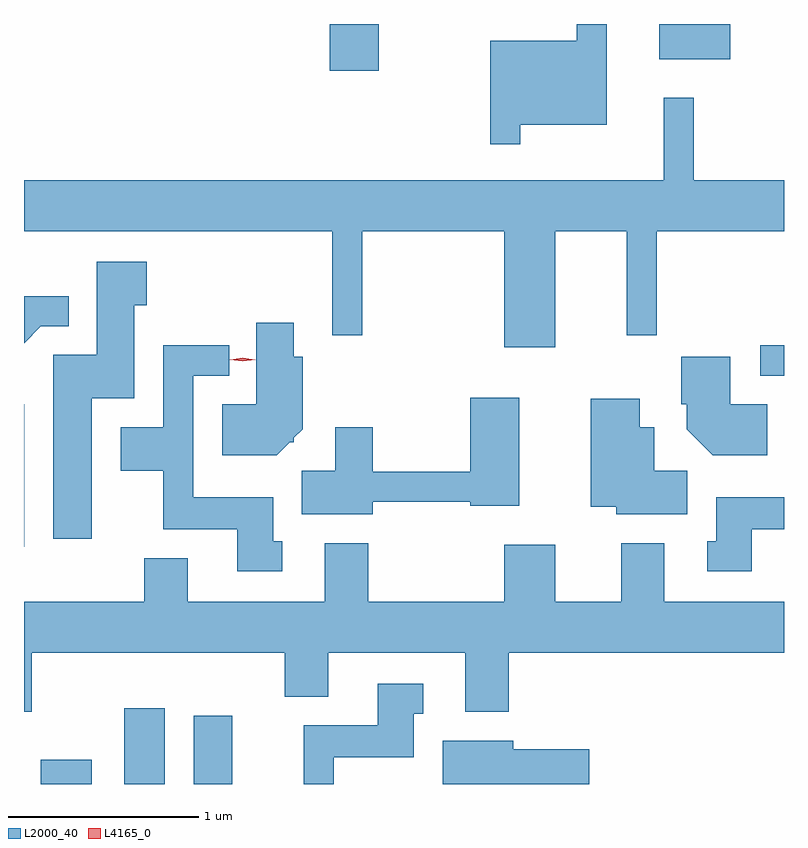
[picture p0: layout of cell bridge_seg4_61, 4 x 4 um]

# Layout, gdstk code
import gdstk
lib = gdstk.Library(unit=1e-6, precision=1e-09)
def R(c, l, rs):  # rectangles x0, y0, x1, y1
    for r in rs: c.add(gdstk.rectangle(r[:2], r[2:], *l))
def P(c, l, *ps):  # polygons
    for p in ps: c.add(gdstk.Polygon(p, *l))
L2000_40 = (2000, 40)
L4165_0 = (4165, 0)

bridge_seg4_61 = lib.new_cell('bridge_seg4_61')
R(bridge_seg4_61, L2000_40, [(1291.556,1267.406,1291.824,1267.534), (1291.996,1267.406,1292.209,1267.804), (1292.361,1267.406,1292.564,1267.764), (1291.468,1268.656,1291.469,1269.404), (1295.343,1269.556,1295.468,1269.714), (1293.076,1271.161,1293.334,1271.406), (1294.811,1271.221,1295.184,1271.406)])
P(bridge_seg4_61, L2000_40, [(1294.079,1270.876),(1294.534,1270.876),(1294.534,1271.406),(1294.376,1271.406),(1294.376,1271.319),(1293.921,1271.319),(1293.921,1270.773),(1294.079,1270.773)],
  [(1294.264,1270.316),(1294.641,1270.316),(1294.641,1269.768),(1294.799,1269.768),(1294.799,1270.316),(1295.468,1270.316),(1295.468,1270.584),(1294.994,1270.584),(1294.994,1271.018),(1294.836,1271.018),(1294.836,1270.584),(1291.468,1270.584),(1291.468,1270.316),(1293.091,1270.316),(1293.091,1269.768),(1293.249,1269.768),(1293.249,1270.316),(1293.996,1270.316),(1293.996,1269.706),(1294.264,1269.706)],
  [(1291.824,1269.436),(1292.049,1269.436),(1292.049,1269.926),(1292.114,1269.926),(1292.114,1270.154),(1291.851,1270.154),(1291.851,1269.664),(1291.621,1269.664),(1291.621,1268.696),(1291.824,1268.696)],
  [(1291.557,1269.816),(1291.703,1269.816),(1291.703,1269.974),(1291.47,1269.974),(1291.47,1269.961),(1291.468,1269.959),(1291.468,1269.727)],
  [(1292.867,1269.206),(1292.889,1269.206),(1292.889,1269.229),(1292.934,1269.274),(1292.934,1269.654),(1292.889,1269.654),(1292.889,1269.834),(1292.691,1269.834),(1292.691,1269.404),(1292.511,1269.404),(1292.511,1269.136),(1292.797,1269.136)],
  [(1292.828,1268.684),(1292.779,1268.684),(1292.779,1268.914),(1292.359,1268.914),(1292.359,1269.556),(1292.548,1269.556),(1292.548,1269.714),(1292.201,1269.714),(1292.201,1269.284),(1291.976,1269.284),(1291.976,1269.056),(1292.201,1269.056),(1292.201,1268.746),(1292.591,1268.746),(1292.591,1268.526),(1292.828,1268.526)],
  [(1295.379,1269.404),(1295.184,1269.404),(1295.184,1269.654),(1294.926,1269.654),(1294.926,1269.406),(1294.956,1269.406),(1294.956,1269.274),(1295.094,1269.136),(1295.379,1269.136)],
  [(1293.304,1268.891),(1293.816,1268.891),(1293.816,1268.871),(1294.074,1268.871),(1294.074,1269.439),(1293.816,1269.439),(1293.816,1269.049),(1293.304,1269.049),(1293.304,1269.284),(1293.106,1269.284),(1293.106,1269.054),(1292.931,1269.054),(1292.931,1268.826),(1293.304,1268.826)],
  [(1294.959,1269.054),(1294.784,1269.054),(1294.784,1269.284),(1294.709,1269.284),(1294.709,1269.434),(1294.451,1269.434),(1294.451,1268.866),(1294.586,1268.866),(1294.586,1268.826),(1294.959,1268.826)],
  [(1295.299,1268.746),(1295.468,1268.746),(1295.468,1268.914),(1295.111,1268.914),(1295.111,1268.684),(1295.063,1268.684),(1295.063,1268.526),(1295.299,1268.526)],
  [(1291.509,1268.096),(1292.841,1268.096),(1292.841,1267.866),(1293.069,1267.866),(1293.069,1268.096),(1293.791,1268.096),(1293.791,1267.786),(1294.019,1267.786),(1294.019,1268.096),(1295.468,1268.096),(1295.468,1268.364),(1294.839,1268.364),(1294.839,1268.674),(1294.611,1268.674),(1294.611,1268.364),(1294.264,1268.364),(1294.264,1268.664),(1293.996,1268.664),(1293.996,1268.364),(1293.279,1268.364),(1293.279,1268.674),(1293.051,1268.674),(1293.051,1268.364),(1292.329,1268.364),(1292.329,1268.594),(1292.101,1268.594),(1292.101,1268.364),(1291.468,1268.364),(1291.468,1267.786),(1291.509,1267.786)],
  [(1293.099,1267.546),(1293.519,1267.546),(1293.519,1267.776),(1293.568,1267.776),(1293.568,1267.934),(1293.331,1267.934),(1293.331,1267.714),(1292.941,1267.714),(1292.941,1267.406),(1293.099,1267.406)],
  [(1294.444,1267.589),(1294.044,1267.589),(1294.044,1267.634),(1293.671,1267.634),(1293.671,1267.406),(1294.444,1267.406)])
P(bridge_seg4_61, L4165_0, [(1292.618,1269.63),(1292.552,1269.639),(1292.552,1269.639),(1292.552,1269.64),(1292.618,1269.649),(1292.684,1269.64),(1292.684,1269.64),(1292.684,1269.639)])

lib.write_gds('bridge_seg4_61.gds')
